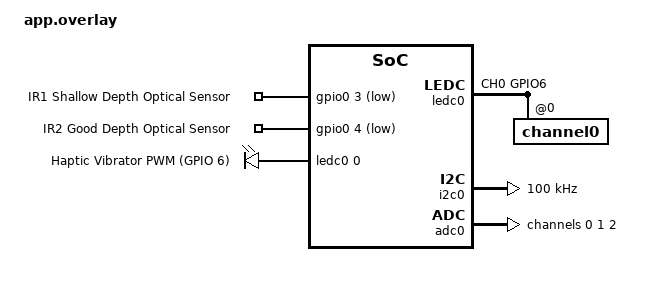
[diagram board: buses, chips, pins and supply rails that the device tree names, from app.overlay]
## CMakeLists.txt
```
# CMakeLists.txt - Zephyr RTOS Build Configuration
# CPR BLE RTOS Controller (No LED Build) for ESP32-C3

cmake_minimum_required(VERSION 3.20.0)

find_package(Zephyr REQUIRED HINTS $ENV{ZEPHYR_BASE})
project(cpr_ble_zephyr_controller_no_led)

target_include_directories(app PRIVATE src)

target_sources(app PRIVATE
    src/main.c
    src/cpr_protocol.c
    src/ble_service.c
    src/ir_sensor.c
    src/haptic.c
    src/aed_sensor.c
    src/air_sensor.c
    src/battery.c
)
```

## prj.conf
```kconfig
# Zephyr RTOS Project Configuration
# Target: ESP32-C3 Super Mini / esp32c3_devkitm
# Project: CPR BLE Monitor (No LED)

# Serial Console & Logging
CONFIG_PRINTK=y
CONFIG_LOG=y
CONFIG_LOG_DEFAULT_LEVEL=3

# Kernel & Stacks
CONFIG_MAIN_STACK_SIZE=4096
CONFIG_SYSTEM_WORKQUEUE_STACK_SIZE=2048
CONFIG_HEAP_MEM_POOL_SIZE=8192

# Bluetooth Subsystem (BLE 5.0 Peripheral)
CONFIG_BT=y
CONFIG_BT_PERIPHERAL=y
CONFIG_BT_DEVICE_NAME="CPR_106"
CONFIG_BT_DEVICE_APPEARANCE=0
CONFIG_BT_MAX_CONN=2
CONFIG_BT_MAX_PAIRED=2
CONFIG_BT_SMP=y
CONFIG_BT_BONDABLE=y
CONFIG_BT_GATT_DYNAMIC_DB=y

# Bluetooth Battery Service (0x180F) for Mobile Percentage Display
CONFIG_BT_BAS=y

# MTU & Buffers for High Throughput & Zero-Delay
CONFIG_BT_L2CAP_TX_MTU=247
CONFIG_BT_BUF_ACL_TX_SIZE=251
CONFIG_BT_BUF_ACL_RX_SIZE=251

# Peripheral Hardware Drivers
CONFIG_GPIO=y
CONFIG_PWM=y
CONFIG_ADC=y
CONFIG_I2C=y

# Floating Point Formatting Support (for BMP280 Airway Pressure)
CONFIG_CBPRINTF_FP_SUPPORT=y
```

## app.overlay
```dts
/*
 * app.overlay - Devicetree overlay for ESP32-C3 Super Mini / esp32c3_devkitm
 * Mapping CPR sensors and haptic motor pins.
 */

#include <zephyr/dt-bindings/gpio/gpio.h>
#include <zephyr/dt-bindings/pwm/pwm.h>
#include <zephyr/dt-bindings/i2c/i2c.h>
#include <zephyr/dt-bindings/adc/adc.h>
#include <zephyr/dt-bindings/pinctrl/esp32c3-pinctrl.h>

/ {
    cpr_sensors {
        compatible = "gpio-keys";
        ir1_pin: ir1 {
            gpios = <&gpio0 3 (GPIO_PULL_UP | GPIO_ACTIVE_LOW)>;
            label = "IR1 Shallow Depth Optical Sensor";
        };
        ir2_pin: ir2 {
            gpios = <&gpio0 4 (GPIO_PULL_UP | GPIO_ACTIVE_LOW)>;
            label = "IR2 Good Depth Optical Sensor";
        };
    };

    aliases {
        ir1 = &ir1_pin;
        ir2 = &ir2_pin;
        pwm-motor = &motor_pwm_0;
        i2c-bus = &i2c0;
    };

    pwm_motor_node {
        compatible = "pwm-leds";
        motor_pwm_0: motor_pwm_0 {
            pwms = <&ledc0 0 PWM_HZ(200) PWM_POLARITY_NORMAL>;
            label = "Haptic Vibrator PWM (GPIO 6)";
        };
    };
};

&user_button1 {
    status = "disabled";
};

&pinctrl {
    ledc0_cpr: ledc0_cpr {
        group1 {
            pinmux = <LEDC_CH0_GPIO6>;
            output-enable;
        };
    };

    i2c0_cpr: i2c0_cpr {
        group1 {
            pinmux = <I2C0_SDA_GPIO8>,
                     <I2C0_SCL_GPIO9>;
            bias-pull-up;
            drive-open-drain;
            output-high;
        };
    };
};

&ledc0 {
    pinctrl-0 = <&ledc0_cpr>;
    pinctrl-names = "default";
    status = "okay";
    #address-cells = <1>;
    #size-cells = <0>;
    channel0@0 {
        reg = <0x0>;
        timer = <0>;
    };
};

&i2c0 {
    status = "okay";
    pinctrl-0 = <&i2c0_cpr>;
    pinctrl-names = "default";
    clock-frequency = <I2C_BITRATE_STANDARD>;
};

&adc0 {
    status = "okay";
    #address-cells = <1>;
    #size-cells = <0>;

    /* Channel 0: GPIO 0 (Chest AED Pad 49E Hall Sensor: A2) */
    channel@0 {
        reg = <0>;
        zephyr,gain = "ADC_GAIN_1_4";
        zephyr,reference = "ADC_REF_INTERNAL";
        zephyr,acquisition-time = <ADC_ACQ_TIME_DEFAULT>;
        zephyr,resolution = <12>;
    };

    /* Channel 1: GPIO 1 (Hip AED Pad 49E Hall Sensor: A1) */
    channel@1 {
        reg = <1>;
        zephyr,gain = "ADC_GAIN_1_4";
        zephyr,reference = "ADC_REF_INTERNAL";
        zephyr,acquisition-time = <ADC_ACQ_TIME_DEFAULT>;
        zephyr,resolution = <12>;
    };

    /* Channel 2: GPIO 2 (Battery Voltage Divider) */
    channel@2 {
        reg = <2>;
        zephyr,gain = "ADC_GAIN_1_4";
        zephyr,reference = "ADC_REF_INTERNAL";
        zephyr,acquisition-time = <ADC_ACQ_TIME_DEFAULT>;
        zephyr,resolution = <12>;
    };
};
```

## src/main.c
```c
/**
 * @file    main.c
 * @brief   CPR Training Monitor — Main Application Entry Point (Zephyr RTOS, No LED)
 * @version 9.0.0
 */

#include <zephyr/kernel.h>
#include <zephyr/logging/log.h>
#include <zephyr/bluetooth/bluetooth.h>

#include "cpr_config.h"
#include "cpr_protocol.h"
#include "ble_service.h"
#include "ir_sensor.h"
#include "haptic.h"
#include "aed_sensor.h"
#include "air_sensor.h"
#include "battery.h"

LOG_MODULE_REGISTER(main, LOG_LEVEL_INF);

/* Thread Stack Sizes & Priorities */
#define STACK_SIZE_SENSOR   2048
#define STACK_SIZE_HEART    1024
#define STACK_SIZE_AED      1536
#define STACK_SIZE_AIR      2048

#define PRIORITY_SENSOR     2   /* High priority for deterministic 1 kHz optical sampling */
#define PRIORITY_HEART      5   /* Background rhythmic haptic driver */
#define PRIORITY_AED        6   /* 10 Hz telemetry */
#define PRIORITY_AIR        6   /* 50 Hz pressure telemetry */

static uint8_t  s_device_id[3]   = {0x82, 0x30, 0x9A}; /* Derived from BT MAC */
static uint16_t s_packet_counter = 0;
static int8_t   s_last_aed_state = -1;
static volatile bool s_announce_pending = false;

/* =============================================================================
 * SENSOR & BLE EVENT HANDLERS
 * ============================================================================= */
static void on_compression_event(depth_result_t result)
{
    if (ble_service_is_connected()) {
        CprPacket cp = cpr_protocol_build_packet(
            PTYPE_COMPRESSION,
            (int8_t)result,
            s_packet_counter++,
            s_device_id
        );
        ble_service_send_compression(&cp);
    }
}

static void on_recoil_event(depth_result_t result)
{
    if (ble_service_is_connected()) {
        CprPacket cp = cpr_protocol_build_packet(
            PTYPE_COMPRESSION,
            (int8_t)result,
            s_packet_counter++,
            s_device_id
        );
        ble_service_send_compression(&cp);
    }
}

static void on_ble_heart_mode_cmd(heart_mode_t mode)
{
    haptic_set_mode(mode);
}

static void on_ble_announce_cmd(void)
{
    s_announce_pending = true;
}

static void on_ble_aed_mode_cmd(aed_mode_t mode)
{
    aed_sensor_set_mode(mode);
    s_last_aed_state = -1;
}

static void on_ble_air_mode_cmd(bool active)
{
    air_sensor_set_active(active);
}

/* =============================================================================
 * ZEPHYR RTOS DEDICATED THREADS
 * ============================================================================= */

/* 1. Sensor Thread: Deterministic 1 kHz Sampling (Zero-Delay Optical Trigger) */
static void sensor_thread_entry(void *p1, void *p2, void *p3)
{
    ARG_UNUSED(p1);
    ARG_UNUSED(p2);
    ARG_UNUSED(p3);

    while (1) {
        ir_sensor_update_tick(TIMING_SENSOR_POLL_MS);
        k_msleep(TIMING_SENSOR_POLL_MS);
    }
}
K_THREAD_DEFINE(sensor_tid, STACK_SIZE_SENSOR, sensor_thread_entry, NULL, NULL, NULL,
                PRIORITY_SENSOR, 0, 0);

/* 2. Heartbeat Thread: Precise Lub-Dub Cardiac Motor Rhythms */
static void heart_thread_entry(void *p1, void *p2, void *p3)
{
    ARG_UNUSED(p1);
    ARG_UNUSED(p2);
    ARG_UNUSED(p3);

    while (1) {
        haptic_run_cycle();
    }
}
K_THREAD_DEFINE(heart_tid, STACK_SIZE_HEART, heart_thread_entry, NULL, NULL, NULL,
                PRIORITY_HEART, 0, 0);

/* 3. AED Thread: 10 Hz 49E Hall Effect Pad Detection (Chest A2 & Hip A1) */
static void aed_thread_entry(void *p1, void *p2, void *p3)
{
    ARG_UNUSED(p1);
    ARG_UNUSED(p2);
    ARG_UNUSED(p3);

    while (1) {
        if (aed_sensor_is_active()) {
            aed_snapshot_t aed = aed_sensor_read();
            int8_t state = aed.is_attached ? 1 : 0;
            if (state != s_last_aed_state) {
                s_last_aed_state = state;
                if (ble_service_is_connected()) {
                    CprPacket p = cpr_protocol_build_packet(
                        PTYPE_AED,
                        state,
                        s_packet_counter++,
                        s_device_id
                    );
                    ble_service_send_aed(&p);
                    LOG_INF("[AED Telemetry] Mode=%s, Attached=%s (ADC=%d, Baseline=%d, Diff=%d)",
                            (aed.mode == AED_MODE_CHEST) ? "CHEST (A2)" : "HIP (A1)",
                            aed.is_attached ? "YES" : "NO",
                            aed.raw_adc,
                            aed.baseline,
                            aed.diff);
                }
            }
            k_msleep(AED_SAMPLE_INTERVAL_MS);
        } else {
            k_msleep(100);
        }
    }
}
K_THREAD_DEFINE(aed_tid, STACK_SIZE_AED, aed_thread_entry, NULL, NULL, NULL,
                PRIORITY_AED, 0, 0);

/* 4. Air Thread: 50 Hz Digital Breath Detection on GPIO 1 */
static void air_thread_entry(void *p1, void *p2, void *p3)
{
    ARG_UNUSED(p1);
    ARG_UNUSED(p2);
    ARG_UNUSED(p3);

    while (1) {
        if (air_sensor_is_active()) {
            bool is_air = false;
            if (air_sensor_update(&is_air)) {
                if (ble_service_is_connected()) {
                    CprPacket p = cpr_protocol_build_packet(
                        PTYPE_AIR,
                        is_air ? 1 : 0,
                        s_packet_counter++,
                        s_device_id
                    );
                    ble_service_send_air(&p);
                    LOG_INF("[Breath Telemetry] Breath=%s", is_air ? "DETECTED (ON)" : "RELEASED (OFF)");
                }
            }
            k_msleep(AIR_SAMPLE_INTERVAL_MS);
        } else {
            k_msleep(100);
        }
    }
}
K_THREAD_DEFINE(air_tid, STACK_SIZE_AIR, air_thread_entry, NULL, NULL, NULL,
                PRIORITY_AIR, 0, 0);

/* =============================================================================
 * MAIN ENTRY POINT
 * ============================================================================= */
int main(void)
{
    LOG_INF("==================================================");
    LOG_INF(" CPR Monitor v%s [Zephyr RTOS No-LED]", FW_VERSION_STR);
    LOG_INF("==================================================");

    /* 1. Initialize Bare-Metal Drivers */
    ir_sensor_init();
    haptic_init();
    aed_sensor_init();
    air_sensor_init();
    battery_init();

    /* 2. Register Callback Handlers */
    ir_sensor_register_callbacks(on_compression_event, on_recoil_event);
    ble_service_register_callbacks(
        on_ble_heart_mode_cmd,
        on_ble_announce_cmd,
        on_ble_aed_mode_cmd,
        on_ble_air_mode_cmd
    );

    /* 3. Initialize BLE GATT & Advertising */
    int ret = ble_service_init();
    if (ret) {
        LOG_ERR("BLE initialization failed (err %d)", ret);
    }

    LOG_INF("System boot sequence complete. Active threads: Sensor, Heart, AED, Air.");

    /* 4. Main Telemetry & Watchdog Loop (Every 5 seconds) */
    while (1) {
        uint8_t batt_pct = battery_get_percentage();
        ble_service_set_battery_level(batt_pct);

        if (s_announce_pending) {
            s_announce_pending = false;
            if (ble_service_is_connected()) {
                AnnouncePacket ap = cpr_protocol_build_announce(
                    s_packet_counter++,
                    s_device_id,
                    batt_pct
                );
                ble_service_send_announce(&ap);
            }
        }

        /* Ensure advertising is active whenever disconnected */
        if (!ble_service_is_connected()) {
            ble_service_ensure_advertising();
        }

        LOG_INF("[HEALTH] State: %s | Battery: %u%% | CPM: %u",
                ble_service_is_connected() ? "CONNECTED" : 
                (ble_service_is_advertising() ? "ADVERTISING" : "IDLE"),
                batt_pct,
                cpm_tracker_get_current_rate());

        k_msleep(5000);
    }

    return 0;
}
```

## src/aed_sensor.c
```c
/**
 * @file    aed_sensor.c
 * @brief   49E Linear Hall Effect Sensor Driver Implementation (Zephyr RTOS)
 *          Handles Chest (A2) on ADC1_CH0 (GPIO 0) and Hip (A1) on ADC1_CH1 (GPIO 1).
 *          Enhanced with 16-sample oversampling and hysteresis for thin/small magnets.
 * @version 9.3.0
 */

#include "aed_sensor.h"
#include <zephyr/kernel.h>
#include <zephyr/drivers/adc.h>
#include <zephyr/logging/log.h>
#include <stdlib.h>

LOG_MODULE_REGISTER(aed_sensor, LOG_LEVEL_INF);

static const struct device *adc_dev = NULL;
static aed_mode_t s_aed_mode        = AED_MODE_DISABLED;
static int16_t    s_baseline_chest  = 0;
static int16_t    s_baseline_hip    = 0;

static bool    s_chest_attached     = false;
static bool    s_hip_attached       = false;
static uint8_t s_chest_confirm_count = 0;
static uint8_t s_hip_confirm_count   = 0;

static int adc_read_channel(uint8_t channel, int16_t *out_val)
{
    if (!adc_dev || !device_is_ready(adc_dev)) {
        *out_val = 2048; /* Dummy midpoint if ADC not ready */
        return -ENODEV;
    }

    struct adc_channel_cfg ch_cfg = {
        .gain = ADC_GAIN_1_4,
        .reference = ADC_REF_INTERNAL,
        .acquisition_time = ADC_ACQ_TIME_DEFAULT,
        .channel_id = channel,
    };

    adc_channel_setup(adc_dev, &ch_cfg);

    int16_t sample = 0;
    struct adc_sequence sequence = {
        .channels = BIT(channel),
        .buffer = &sample,
        .buffer_size = sizeof(sample),
        .resolution = AED_ADC_RESOLUTION_BITS,
    };

    int ret = adc_read(adc_dev, &sequence);
    if (ret == 0) {
        *out_val = sample;
    }
    return ret;
}

static int16_t read_hall_average(uint8_t channel, uint8_t samples)
{
    int32_t sum = 0;
    int16_t val = 0;
    for (uint8_t i = 0; i < samples; ++i) {
        adc_read_channel(channel, &val);
        sum += val;
        k_busy_wait(200);
    }
    return (int16_t)(sum / samples);
}

int aed_sensor_init(void)
{
    adc_dev = DEVICE_DT_GET(DT_NODELABEL(adc0));
    if (!device_is_ready(adc_dev)) {
        LOG_WRN("ADC0 device not ready");
    } else {
        LOG_INF("ADC0 initialized for Dual 49E Hall sensors (Chest=GPIO0/CH0, Hip=GPIO1/CH1)");
    }

    s_aed_mode = AED_MODE_DISABLED;
    s_chest_attached = false;
    s_hip_attached   = false;
    s_chest_confirm_count = 0;
    s_hip_confirm_count   = 0;
    return 0;
}

void aed_sensor_calibrate(void)
{
    if (s_aed_mode == AED_MODE_CHEST) {
        s_baseline_chest = read_hall_average(AED_ADC_CH_CHEST, AED_CALIBRATION_SAMPLES);
        LOG_INF("Chest AED Calibrated (GPIO 0): Baseline=%d (Sens Threshold=%d, Hyst=%d)",
                s_baseline_chest, AED_DIFF_THRESHOLD, AED_HYSTERESIS_THRESHOLD);
    } else if (s_aed_mode == AED_MODE_HIP) {
        s_baseline_hip = read_hall_average(AED_ADC_CH_HIP, AED_CALIBRATION_SAMPLES);
        LOG_INF("Hip AED Calibrated (GPIO 1): Baseline=%d (Sens Threshold=%d, Hyst=%d)",
                s_baseline_hip, AED_DIFF_THRESHOLD, AED_HYSTERESIS_THRESHOLD);
    }
}

void aed_sensor_set_mode(aed_mode_t mode)
{
    s_aed_mode = mode;
    s_chest_attached = false;
    s_hip_attached   = false;
    s_chest_confirm_count = 0;
    s_hip_confirm_count   = 0;

    if (mode == AED_MODE_CHEST) {
        aed_sensor_calibrate();
        LOG_INF(">>> CHEST AED Pad Monitoring ACTIVATED on GPIO 0 (Cmd 'A2', Threshold=%d)", AED_DIFF_THRESHOLD);
    } else if (mode == AED_MODE_HIP) {
        aed_sensor_calibrate();
        LOG_INF(">>> HIP AED Pad Monitoring ACTIVATED on GPIO 1 (Cmd 'A1', Threshold=%d)", AED_DIFF_THRESHOLD);
    } else {
        LOG_INF("<<< AED Pad Monitoring DEACTIVATED (Cmd 'A0')");
    }
}

aed_mode_t aed_sensor_get_mode(void)
{
    return s_aed_mode;
}

bool aed_sensor_is_active(void)
{
    return (s_aed_mode != AED_MODE_DISABLED);
}

aed_snapshot_t aed_sensor_read(void)
{
    aed_snapshot_t snap = {
        .mode = s_aed_mode,
        .is_attached = false,
        .raw_adc = 0,
        .baseline = 0,
        .diff = 0
    };

    if (s_aed_mode == AED_MODE_DISABLED) return snap;

    uint8_t channel = (s_aed_mode == AED_MODE_CHEST) ? AED_ADC_CH_CHEST : AED_ADC_CH_HIP;
    int16_t current = read_hall_average(channel, AED_OVERSAMPLE_COUNT);
    int16_t baseline = (s_aed_mode == AED_MODE_CHEST) ? s_baseline_chest : s_baseline_hip;

    snap.raw_adc     = current;
    snap.baseline    = baseline;
    snap.diff        = abs(current - baseline);

    bool *p_attached = (s_aed_mode == AED_MODE_CHEST) ? &s_chest_attached : &s_hip_attached;
    uint8_t *p_confirm = (s_aed_mode == AED_MODE_CHEST) ? &s_chest_confirm_count : &s_hip_confirm_count;

    if (!(*p_attached)) {
        if (snap.diff >= AED_DIFF_THRESHOLD) {
            (*p_confirm)++;
            if (*p_confirm >= 2) {
                *p_attached = true;
                *p_confirm = 0;
            }
        } else {
            *p_confirm = 0;
        }
    } else {
        if (snap.diff <= AED_HYSTERESIS_THRESHOLD) {
            (*p_confirm)++;
            if (*p_confirm >= 2) {
                *p_attached = false;
                *p_confirm = 0;
            }
        } else {
            *p_confirm = 0;
        }
    }

    snap.is_attached = *p_attached;
    return snap;
}
```

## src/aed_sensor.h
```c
/**
 * @file    aed_sensor.h
 * @brief   49E Linear Hall Effect Sensor Driver for AED Pad Placement (Zephyr RTOS)
 * @version 9.1.0
 */

#pragma once

#include <stdint.h>
#include <stdbool.h>
#include "cpr_config.h"

#ifdef __cplusplus
extern "C" {
#endif

typedef struct {
    aed_mode_t mode;        /* Current mode: AED_MODE_CHEST or AED_MODE_HIP */
    bool       is_attached; /* True if pad attached (diff > threshold) */
    int16_t    raw_adc;     /* Current raw ADC value */
    int16_t    baseline;    /* Calibrated baseline */
    int16_t    diff;        /* Absolute difference from baseline */
} aed_snapshot_t;

int aed_sensor_init(void);

void aed_sensor_set_mode(aed_mode_t mode);

aed_mode_t aed_sensor_get_mode(void);

bool aed_sensor_is_active(void);

void aed_sensor_calibrate(void);

aed_snapshot_t aed_sensor_read(void);

#ifdef __cplusplus
}
#endif
```

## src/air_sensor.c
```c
/**
 * @file    air_sensor.c
 * @brief   BMP280 Airway Barometric Pressure Sensor Driver Implementation (Zephyr RTOS)
 *          Operates over I2C0 (SDA: GPIO 8, SCL: GPIO 9).
 * @version 9.3.0
 */

#include "air_sensor.h"
#include <zephyr/kernel.h>
#include <zephyr/drivers/i2c.h>
#include <zephyr/logging/log.h>
#include <math.h>

LOG_MODULE_REGISTER(air_sensor, LOG_LEVEL_INF);

static const struct device *i2c_dev = NULL;
static uint16_t s_bmp_addr          = 0x76;
static bool     s_bmp_initialized   = false;
static bool     s_air_active        = false;

/* Calibration Parameters */
static uint16_t dig_T1;
static int16_t  dig_T2, dig_T3;
static uint16_t dig_P1;
static int16_t  dig_P2, dig_P3, dig_P4, dig_P5, dig_P6, dig_P7, dig_P8, dig_P9;
static int32_t  t_fine;

/* Air Detection State */
static float   s_baseline_pressure = 0.0f;
static float   s_filtered_diff     = 0.0f;
static bool    s_first_reading     = true;
static bool    s_air_detected      = false;
static uint8_t s_on_count          = 0;
static uint8_t s_off_count         = 0;

/* BMP280 Registers */
#define BMP280_REG_CHIPID       0xD0
#define BMP280_REG_CTRL_MEAS    0xF4
#define BMP280_REG_CONFIG       0xF5
#define BMP280_REG_PRESS_MSB    0xF7
#define BMP280_REG_CALIB_START  0x88

static int bmp280_read_calib(void)
{
    uint8_t calib[24];
    int ret = i2c_burst_read(i2c_dev, s_bmp_addr, BMP280_REG_CALIB_START, calib, 24);
    if (ret) return ret;

    dig_T1 = (uint16_t)(calib[1] << 8 | calib[0]);
    dig_T2 = (int16_t)(calib[3] << 8 | calib[2]);
    dig_T3 = (int16_t)(calib[5] << 8 | calib[4]);

    dig_P1 = (uint16_t)(calib[7] << 8 | calib[6]);
    dig_P2 = (int16_t)(calib[9] << 8 | calib[8]);
    dig_P3 = (int16_t)(calib[11] << 8 | calib[10]);
    dig_P4 = (int16_t)(calib[13] << 8 | calib[12]);
    dig_P5 = (int16_t)(calib[15] << 8 | calib[14]);
    dig_P6 = (int16_t)(calib[17] << 8 | calib[16]);
    dig_P7 = (int16_t)(calib[19] << 8 | calib[18]);
    dig_P8 = (int16_t)(calib[21] << 8 | calib[20]);
    dig_P9 = (int16_t)(calib[23] << 8 | calib[22]);

    return 0;
}

static float bmp280_read_pressure_pa(void)
{
    if (!s_bmp_initialized) return 101325.0f;

    uint8_t data[6];
    int ret = i2c_burst_read(i2c_dev, s_bmp_addr, BMP280_REG_PRESS_MSB, data, 6);
    if (ret) return 101325.0f;

    int32_t adc_p = ((int32_t)data[0] << 12) | ((int32_t)data[1] << 4) | ((int32_t)data[2] >> 4);
    int32_t adc_t = ((int32_t)data[3] << 12) | ((int32_t)data[4] << 4) | ((int32_t)data[5] >> 4);

    /* Temperature compensation */
    int32_t var1 = ((((adc_t >> 3) - ((int32_t)dig_T1 << 1))) * ((int32_t)dig_T2)) >> 11;
    int32_t var2 = (((((adc_t >> 4) - ((int32_t)dig_T1)) * ((adc_t >> 4) - ((int32_t)dig_T1))) >> 12) * ((int32_t)dig_T3)) >> 14;
    t_fine = var1 + var2;

    /* Pressure compensation */
    int64_t p_var1 = ((int64_t)t_fine) - 128000;
    int64_t p_var2 = p_var1 * p_var1 * (int64_t)dig_P6;
    p_var2 = p_var2 + ((p_var1 * (int64_t)dig_P5) << 17);
    p_var2 = p_var2 + (((int64_t)dig_P4) << 35);
    p_var1 = ((p_var1 * p_var1 * (int64_t)dig_P3) >> 8) + ((p_var1 * (int64_t)dig_P2) << 12);
    p_var1 = (((((int64_t)1) << 47) + p_var1)) * ((int64_t)dig_P1) >> 33;

    if (p_var1 == 0) return 0.0f;

    int64_t p = 1048576 - adc_p;
    p = (((p << 31) - p_var2) * 3125) / p_var1;
    p_var1 = (((int64_t)dig_P9) * (p >> 13) * (p >> 13)) >> 25;
    p_var2 = (((int64_t)dig_P8) * p) >> 19;
    p = ((p + p_var1 + p_var2) >> 8) + (((int64_t)dig_P7) << 4);

    return (float)p / 256.0f;
}

int air_sensor_init(void)
{
    i2c_dev = DEVICE_DT_GET(DT_NODELABEL(i2c0));
    if (!device_is_ready(i2c_dev)) {
        LOG_WRN("I2C0 not ready");
        return -ENODEV;
    }

    uint8_t chip_id = 0;
    /* Probe 0x76 first, then 0x77 */
    s_bmp_addr = 0x76;
    if (i2c_reg_read_byte(i2c_dev, s_bmp_addr, BMP280_REG_CHIPID, &chip_id) != 0 || (chip_id != 0x58 && chip_id != 0x60)) {
        s_bmp_addr = 0x77;
        if (i2c_reg_read_byte(i2c_dev, s_bmp_addr, BMP280_REG_CHIPID, &chip_id) != 0 || (chip_id != 0x58 && chip_id != 0x60)) {
            LOG_WRN("BMP280 not found on I2C (0x76 / 0x77)");
            s_bmp_initialized = false;
            return -ENODEV;
        }
    }

    bmp280_read_calib();

    /* Put in sleep mode initially */
    i2c_reg_write_byte(i2c_dev, s_bmp_addr, BMP280_REG_CTRL_MEAS, 0x00);
    s_bmp_initialized = true;
    LOG_INF("BMP280 airway sensor initialized at 0x%02x on I2C0 (Sleep Mode)", s_bmp_addr);
    return 0;
}

bool air_sensor_calibrate(void)
{
    if (!s_bmp_initialized) return false;

    /* Configure normal mode, x2 temp oversample, x16 pressure oversample */
    i2c_reg_write_byte(i2c_dev, s_bmp_addr, BMP280_REG_CTRL_MEAS, 0x57);
    i2c_reg_write_byte(i2c_dev, s_bmp_addr, BMP280_REG_CONFIG, 0x10); /* Filter x16 */

    k_msleep(100);

    float sum = 0.0f;
    for (int i = 0; i < AIR_CALIBRATION_SAMPLES; ++i) {
        sum += bmp280_read_pressure_pa();
        k_msleep(20);
    }
    s_baseline_pressure = sum / (float)AIR_CALIBRATION_SAMPLES;
    s_first_reading     = true;
    s_air_detected      = false;
    s_on_count          = 0;
    s_off_count         = 0;

    LOG_INF("BMP280 Calibrated: Baseline Pressure = %.2f Pa", (double)s_baseline_pressure);
    return true;
}

void air_sensor_set_active(bool active)
{
    s_air_active = active;
    if (active) {
        air_sensor_calibrate();
        LOG_INF(">>> Mouth Airway Sensor ACTIVATED (Cmd 'M1')");
    } else {
        if (s_bmp_initialized) {
            i2c_reg_write_byte(i2c_dev, s_bmp_addr, BMP280_REG_CTRL_MEAS, 0x00); /* Sleep */
        }
        LOG_INF("<<< Mouth Airway Sensor DEACTIVATED (Cmd 'M0')");
    }
}

bool air_sensor_is_active(void)
{
    return s_air_active;
}

bool air_sensor_update(bool *out_air_detected)
{
    if (!s_air_active || !s_bmp_initialized) return false;

    float pressure = bmp280_read_pressure_pa();
    float diff = pressure - s_baseline_pressure;

    if (s_first_reading) {
        s_filtered_diff = diff;
        s_first_reading = false;
    } else {
        s_filtered_diff = AIR_FILTER_ALPHA * diff + (1.0f - AIR_FILTER_ALPHA) * s_filtered_diff;
    }

    float magnitude = fabsf(s_filtered_diff);
    bool state_changed = false;

    if (!s_air_detected) {
        if (magnitude >= AIR_ON_THRESHOLD_PA) {
            s_on_count++;
        } else {
            s_on_count = 0;
        }

        if (s_on_count >= AIR_ON_CONFIRM_COUNT) {
            s_air_detected = true;
            s_on_count     = 0;
            s_off_count    = 0;
            state_changed  = true;
            LOG_INF("[AIR EVENT] >>> BREATH DETECTED! (Delta: %.1f Pa)", (double)magnitude);
        }
    } else {
        if (magnitude <= AIR_OFF_THRESHOLD_PA) {
            s_off_count++;
        } else {
            s_off_count = 0;
        }

        if (s_off_count >= AIR_OFF_CONFIRM_COUNT) {
            s_air_detected = false;
            s_off_count    = 0;
            s_on_count     = 0;
            state_changed  = true;
            LOG_INF("[AIR EVENT] <<< BREATH ENDED");
        }
    }

    *out_air_detected = s_air_detected;
    return state_changed;
}
```

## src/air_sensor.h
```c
/**
 * @file    air_sensor.h
 * @brief   BMP280 Airway Barometric Pressure Sensor Driver (Zephyr RTOS)
 *          Reads pressure differential on I2C (GPIO 8 SDA, GPIO 9 SCL).
 * @version 9.3.0
 */

#pragma once

#include <stdint.h>
#include <stdbool.h>
#include "cpr_config.h"

#ifdef __cplusplus
extern "C" {
#endif

int air_sensor_init(void);
void air_sensor_set_active(bool active);
bool air_sensor_is_active(void);
bool air_sensor_calibrate(void);
bool air_sensor_update(bool *out_air_detected);

#ifdef __cplusplus
}
#endif
```

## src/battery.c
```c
/**
 * @file    battery.c
 * @brief   Battery ADC Voltage & Percentage Monitor Implementation (Zephyr RTOS)
 * @version 9.0.0
 */

#include "battery.h"
#include <zephyr/kernel.h>
#include <zephyr/drivers/adc.h>
#include <zephyr/logging/log.h>

LOG_MODULE_REGISTER(battery, LOG_LEVEL_INF);

static const struct device *adc_dev = NULL;
#define ADC_CH_BATTERY 2 /* GPIO 2 / ADC1 Channel 2 */

int battery_init(void)
{
    adc_dev = DEVICE_DT_GET(DT_NODELABEL(adc0));
    if (!device_is_ready(adc_dev)) {
        LOG_WRN("ADC0 device not ready for battery");
        return -ENODEV;
    }

    struct adc_channel_cfg ch_cfg = {
        .gain = ADC_GAIN_1_4,
        .reference = ADC_REF_INTERNAL,
        .acquisition_time = ADC_ACQ_TIME_DEFAULT,
        .channel_id = ADC_CH_BATTERY,
    };

    adc_channel_setup(adc_dev, &ch_cfg);
    LOG_INF("Battery ADC initialized on Channel %d (GPIO 2)", ADC_CH_BATTERY);
    return 0;
}

uint16_t battery_get_voltage_mv(void)
{
    if (!adc_dev || !device_is_ready(adc_dev)) {
        return 3950; /* Fallback nominal 3.95V */
    }

    int16_t raw_sample = 0;
    struct adc_sequence sequence = {
        .channels = BIT(ADC_CH_BATTERY),
        .buffer = &raw_sample,
        .buffer_size = sizeof(raw_sample),
        .resolution = 12,
    };

    int ret = adc_read(adc_dev, &sequence);
    if (ret != 0 || raw_sample <= 0) {
        return 3950;
    }

    /* Convert raw 12-bit ADC (3.3V full scale) to mV at pin */
    int32_t pin_mv = (raw_sample * 3300) / 4095;
    if (pin_mv < 500) {
        return 3950; /* USB 5V test mode fallback */
    }

    /* Apply 2:1 resistive divider ratio */
    return (uint16_t)(pin_mv * BATT_DIVIDER_RATIO);
}

uint8_t battery_get_percentage(void)
{
    uint16_t mv = battery_get_voltage_mv();

    if (mv >= BATT_MAX_VOLTAGE_MV) {
        return 100;
    } else if (mv <= BATT_MIN_VOLTAGE_MV) {
        return 0;
    } else {
        return (uint8_t)(((uint32_t)(mv - BATT_MIN_VOLTAGE_MV) * 100UL) /
                         (BATT_MAX_VOLTAGE_MV - BATT_MIN_VOLTAGE_MV));
    }
}
```

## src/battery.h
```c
/**
 * @file    battery.h
 * @brief   Battery ADC Voltage & Percentage Monitor (Zephyr RTOS)
 * @version 9.0.0
 */

#pragma once

#include <stdint.h>
#include "cpr_config.h"

#ifdef __cplusplus
extern "C" {
#endif

int battery_init(void);

uint16_t battery_get_voltage_mv(void);

uint8_t battery_get_percentage(void);

#ifdef __cplusplus
}
#endif
```

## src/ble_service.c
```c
/**
 * @file    ble_service.c
 * @brief   Zephyr BLE GATT Nordic UART Service & Battery Service Implementation
 * @version 9.0.0
 */

#include "ble_service.h"
#include <zephyr/kernel.h>
#include <zephyr/logging/log.h>
#include <zephyr/bluetooth/bluetooth.h>
#include <zephyr/bluetooth/conn.h>
#include <zephyr/bluetooth/uuid.h>
#include <zephyr/bluetooth/gatt.h>
#include <zephyr/bluetooth/services/bas.h>

LOG_MODULE_REGISTER(ble_service, LOG_LEVEL_INF);

static struct bt_conn *default_conn = NULL;
static volatile bool s_client_connected = false;
static volatile bool s_is_advertising = false;
static bool s_tx_notify_enabled = false;

static struct k_work_delayable s_adv_work;
static void adv_work_handler(struct k_work *work);

static ble_heart_mode_callback_t       s_heart_cb    = NULL;
static ble_announce_request_callback_t s_announce_cb = NULL;
static ble_aed_mode_callback_t         s_aed_cb      = NULL;
static ble_air_mode_callback_t         s_air_cb      = NULL;

/* Nordic UART Service (NUS) UUIDs */
static struct bt_uuid_128 nus_uuid    = BT_UUID_INIT_128(BT_UUID_NUS_SERVICE_VAL);
static struct bt_uuid_128 nus_rx_uuid = BT_UUID_INIT_128(BT_UUID_NUS_RX_VAL);
static struct bt_uuid_128 nus_tx_uuid = BT_UUID_INIT_128(BT_UUID_NUS_TX_VAL);

static uint8_t s_tx_buffer[32];
static uint16_t s_tx_len = 0;

static ssize_t on_nus_rx_write(struct bt_conn *conn,
                               const struct bt_gatt_attr *attr,
                               const void *buf, uint16_t len,
                               uint16_t offset, uint8_t flags)
{
    const char *cmd_buf = (const char *)buf;
    if (len < 1) return len;

    const char cmd = cmd_buf[0];
    switch (cmd) {
        case 'C':
        case '?':
            if (s_announce_cb) {
                s_announce_cb();
            }
            break;

        case 'A': {
            aed_mode_t mode = AED_MODE_DISABLED;
            if (len >= 2) {
                if (cmd_buf[1] == '2') {
                    mode = AED_MODE_CHEST;
                } else if (cmd_buf[1] == '1') {
                    mode = AED_MODE_HIP;
                } else if (cmd_buf[1] == '0') {
                    mode = AED_MODE_DISABLED;
                }
            }
            if (s_aed_cb) {
                s_aed_cb(mode);
            }
            break;
        }

        case 'M': {
            bool enable = true;
            if (len >= 2 && cmd_buf[1] == '0') {
                enable = false;
            }
            if (s_air_cb) {
                s_air_cb(enable);
            }
            break;
        }

        case 'H':
        case 'V': {
            uint8_t mode = 1;
            if (len >= 2) {
                mode = cmd_buf[1] - '0';
            }
            if (s_heart_cb) {
                if (mode == 0) s_heart_cb(HEART_STOPPED);
                else if (mode == 2) s_heart_cb(HEART_CONTINUOUS);
                else if (mode == 3) s_heart_cb(HEART_SINGLE_BEAT);
                else s_heart_cb(HEART_NORMAL);
            }
            break;
        }

        case 'B':
            if (s_heart_cb) {
                s_heart_cb(HEART_SINGLE_BEAT);
            }
            break;

        case 'S':
            if (s_heart_cb) {
                s_heart_cb(HEART_STOPPED);
            }
            break;

        default:
            break;
    }

    return len;
}

static ssize_t on_nus_tx_read(struct bt_conn *conn,
                              const struct bt_gatt_attr *attr,
                              void *buf, uint16_t len,
                              uint16_t offset)
{
    return bt_gatt_attr_read(conn, attr, buf, len, offset, s_tx_buffer, s_tx_len);
}

static void on_nus_tx_ccc_changed(const struct bt_gatt_attr *attr, uint16_t value)
{
    s_tx_notify_enabled = (value == BT_GATT_CCC_NOTIFY);
    LOG_INF("NUS TX CCC notification %s", s_tx_notify_enabled ? "enabled" : "disabled");
}

/* GATT Service Declaration */
BT_GATT_SERVICE_DEFINE(nus_svc,
    BT_GATT_PRIMARY_SERVICE(&nus_uuid),
    BT_GATT_CHARACTERISTIC(&nus_rx_uuid.uuid,
                           BT_GATT_CHRC_WRITE | BT_GATT_CHRC_WRITE_WITHOUT_RESP,
                           BT_GATT_PERM_WRITE,
                           NULL, on_nus_rx_write, NULL),
    BT_GATT_CHARACTERISTIC(&nus_tx_uuid.uuid,
                           BT_GATT_CHRC_NOTIFY | BT_GATT_CHRC_READ,
                           BT_GATT_PERM_READ,
                           on_nus_tx_read, NULL, NULL),
    BT_GATT_CCC(on_nus_tx_ccc_changed,
                BT_GATT_PERM_READ | BT_GATT_PERM_WRITE),
);

/* Advertising Data */
static const struct bt_data ad[] = {
    BT_DATA_BYTES(BT_DATA_FLAGS, (BT_LE_AD_GENERAL | BT_LE_AD_NO_BREDR)),
    BT_DATA(BT_DATA_NAME_COMPLETE, BLE_DEVICE_NAME, sizeof(BLE_DEVICE_NAME) - 1),
    BT_DATA_BYTES(BT_DATA_UUID128_ALL, BT_UUID_NUS_SERVICE_VAL),
};

static const struct bt_data sd[] = {
    BT_DATA_BYTES(BT_DATA_UUID16_ALL, BT_UUID_16_ENCODE(BT_UUID_BAS_VAL)),
};

int ble_service_start_advertising(void)
{
    if (s_client_connected) {
        return 0;
    }

    /* Stop previous advertising to guarantee clean state */
    bt_le_adv_stop();
    s_is_advertising = false;

    int err = bt_le_adv_start(BT_LE_ADV_CONN_FAST_1, ad, ARRAY_SIZE(ad), sd, ARRAY_SIZE(sd));
    if (err) {
        LOG_ERR("Advertising failed to start (err %d)", err);
        return err;
    }

    s_is_advertising = true;
    LOG_INF("Advertising started as: %s", BLE_DEVICE_NAME);
    return 0;
}

static void adv_work_handler(struct k_work *work)
{
    if (s_client_connected) {
        return;
    }

    int err = ble_service_start_advertising();
    if (err) {
        LOG_WRN("Advertising restart failed (err %d), retrying in 500 ms...", err);
        k_work_reschedule(&s_adv_work, K_MSEC(500));
    }
}

static void connected(struct bt_conn *conn, uint8_t err)
{
    if (err) {
        LOG_ERR("BLE Connection failed (err 0x%02x)", err);
        s_is_advertising = false;
        k_work_reschedule(&s_adv_work, K_MSEC(50));
        return;
    }
    k_work_cancel_delayable(&s_adv_work);
    default_conn = bt_conn_ref(conn);
    s_client_connected = true;
    s_is_advertising = false;
    LOG_INF(">>> BLE Client connected! (Just Works bonding active)");
}

static void disconnected(struct bt_conn *conn, uint8_t reason)
{
    LOG_INF("<<< BLE Client disconnected (reason 0x%02x)", reason);
    if (default_conn) {
        bt_conn_unref(default_conn);
        default_conn = NULL;
    }
    s_client_connected = false;
    s_is_advertising = false;
    s_tx_notify_enabled = false;

    if (s_heart_cb) s_heart_cb(HEART_STOPPED);
    if (s_aed_cb)   s_aed_cb(AED_MODE_DISABLED);
    if (s_air_cb)   s_air_cb(false);

    /* In Zephyr, the stack still holds a reference to the conn object inside disconnected().
     * Restarting advertising synchronously here can fail with -ENOMEM when connection slots are constrained.
     * We schedule advertising restart after a brief delay, and also hook into recycled().
     */
    k_work_reschedule(&s_adv_work, K_MSEC(50));
}

static void recycled(void)
{
    LOG_INF("BLE Connection object freed & recycled. Triggering advertising immediately.");
    k_work_reschedule(&s_adv_work, K_NO_WAIT);
}

BT_CONN_CB_DEFINE(conn_callbacks) = {
    .connected    = connected,
    .disconnected = disconnected,
    .recycled     = recycled,
};

void ble_service_register_callbacks(ble_heart_mode_callback_t heart_cb,
                                    ble_announce_request_callback_t announce_cb,
                                    ble_aed_mode_callback_t aed_cb,
                                    ble_air_mode_callback_t air_cb)
{
    s_heart_cb    = heart_cb;
    s_announce_cb = announce_cb;
    s_aed_cb      = aed_cb;
    s_air_cb      = air_cb;
}

int ble_service_init(void)
{
    k_work_init_delayable(&s_adv_work, adv_work_handler);

    int err = bt_enable(NULL);
    if (err) {
        LOG_ERR("Bluetooth init failed (err %d)", err);
        return err;
    }

    LOG_INF("Bluetooth initialized successfully");

    return ble_service_start_advertising();
}

bool ble_service_is_connected(void)
{
    return s_client_connected;
}

bool ble_service_is_advertising(void)
{
    return s_is_advertising;
}

void ble_service_ensure_advertising(void)
{
    if (!s_client_connected && !s_is_advertising) {
        LOG_INF("Watchdog: advertising was inactive while disconnected, restarting...");
        k_work_reschedule(&s_adv_work, K_NO_WAIT);
    }
}

static int send_nus_data(const void *data, uint16_t len)
{
    if (!s_client_connected || !s_tx_notify_enabled) {
        return -ENOTCONN;
    }

    memcpy(s_tx_buffer, data, len);
    s_tx_len = len;

    /* Index 3 is TX Characteristic Value in nus_svc */
    return bt_gatt_notify(default_conn, &nus_svc.attrs[3], data, len);
}

int ble_service_send_announce(const AnnouncePacket *pkt)
{
    return send_nus_data(pkt, sizeof(AnnouncePacket));
}

int ble_service_send_compression(const CprPacket *pkt)
{
    return send_nus_data(pkt, sizeof(CprPacket));
}

int ble_service_send_aed(const CprPacket *pkt)
{
    return send_nus_data(pkt, sizeof(CprPacket));
}

int ble_service_send_air(const CprPacket *pkt)
{
    return send_nus_data(pkt, sizeof(CprPacket));
}

void ble_service_set_battery_level(uint8_t percentage)
{
    bt_bas_set_battery_level(percentage);
}
```

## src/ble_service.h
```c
/**
 * @file    ble_service.h
 * @brief   Zephyr BLE GATT Nordic UART Service (NUS) & Battery Service (BAS)
 * @version 9.0.0
 */

#pragma once

#include <stdint.h>
#include <stdbool.h>
#include "cpr_config.h"

#ifdef __cplusplus
extern "C" {
#endif

typedef void (*ble_heart_mode_callback_t)(heart_mode_t mode);
typedef void (*ble_announce_request_callback_t)(void);
typedef void (*ble_aed_mode_callback_t)(aed_mode_t mode);
typedef void (*ble_air_mode_callback_t)(bool active);

void ble_service_register_callbacks(ble_heart_mode_callback_t heart_cb,
                                    ble_announce_request_callback_t announce_cb,
                                    ble_aed_mode_callback_t aed_cb,
                                    ble_air_mode_callback_t air_cb);

int ble_service_init(void);

bool ble_service_is_connected(void);
bool ble_service_is_advertising(void);
int ble_service_start_advertising(void);
void ble_service_ensure_advertising(void);

int ble_service_send_announce(const AnnouncePacket *pkt);

int ble_service_send_compression(const CprPacket *pkt);

int ble_service_send_aed(const CprPacket *pkt);

int ble_service_send_air(const CprPacket *pkt);

void ble_service_set_battery_level(uint8_t percentage);

#ifdef __cplusplus
}
#endif
```

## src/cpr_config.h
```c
/**
 * @file    cpr_config.h
 * @brief   System & Hardware Configuration for CPR BLE Monitor (Zephyr RTOS, No LED)
 * @version 9.0.0
 */

#pragma once

#include <stdint.h>
#include <stdbool.h>
#include <stddef.h>

#define FW_VERSION_STR       "9.0.0-ZEPHYR-NO-LED"
#define FW_PROJECT_NAME      "CPR_BLE_Zephyr"

/* =============================================================================
 * HARDWARE GPIO ASSIGNMENTS (ESP32-C3 Super Mini)
 * ============================================================================= */
#define HAL_PIN_AED_CHEST       0   /* ADC1_CH0 (49E Hall Sensor: Chest A2) */
#define HAL_PIN_AED_HIP         1   /* ADC1_CH1 (49E Hall Sensor: Hip A1) */
#define HAL_PIN_BATTERY_ADC     2   /* ADC1_CH2 (Battery 2:1 Divider) */
#define HAL_PIN_IR1             3   /* Optical IR Shallow Sensor (Active-LOW, Pull-up) */
#define HAL_PIN_IR2             4   /* Optical IR Deep Sensor (Active-LOW, Pull-up) */
#define HAL_PIN_MOTOR           6   /* Haptic PWM (200 Hz LEDC PWM) */
#define HAL_PIN_I2C_SDA         8   /* I2C SDA for BMP280 Airway Breath Sensor */
#define HAL_PIN_I2C_SCL         9   /* I2C SCL for BMP280 Airway Breath Sensor */

#define MOTOR_PWM_FREQ_HZ       200
#define MOTOR_DUTY_MAX_PERCENT  100

/* =============================================================================
 * BATTERY MONITORING CONFIGURATION
 * ============================================================================= */
#define BATT_DIVIDER_RATIO      2.0f
#define BATT_MIN_VOLTAGE_MV     3300   /* 3.3V = 0% */
#define BATT_MAX_VOLTAGE_MV     4200   /* 4.2V = 100% */
#define BATT_LOW_THRESHOLD_PCT  30

/* =============================================================================
 * BLE GATT & CHARACTERISTIC UUIDS (Nordic UART Service - NUS)
 * ============================================================================= */
#define BLE_DEVICE_NAME         "CPR_106"
#define MANIKIN_NAME_STR        "106"
#define MANIKIN_TYPE_DEFAULT    1

/* Nordic UART Service 128-bit UUIDs */
/* 6E400001-B5A3-F393-E0A9-E50E24DCCA9E */
#define BT_UUID_NUS_SERVICE_VAL \
    BT_UUID_128_ENCODE(0x6e400001, 0xb5a3, 0xf393, 0xe0a9, 0xe50e24dcca9e)

/* 6E400002-B5A3-F393-E0A9-E50E24DCCA9E (RX: Write) */
#define BT_UUID_NUS_RX_VAL \
    BT_UUID_128_ENCODE(0x6e400002, 0xb5a3, 0xf393, 0xe0a9, 0xe50e24dcca9e)

/* 6E400003-B5A3-F393-E0A9-E50E24DCCA9E (TX: Notify/Read) */
#define BT_UUID_NUS_TX_VAL \
    BT_UUID_128_ENCODE(0x6e400003, 0xb5a3, 0xf393, 0xe0a9, 0xe50e24dcca9e)

/* =============================================================================
 * TIMING CONSTANTS (Milliseconds)
 * ============================================================================= */
#define TIMING_SENSOR_POLL_MS    1      /* 1 kHz sampling for zero-delay response */
#define TIMING_DEBOUNCE_US       20     /* 20us optical glitch filter */
#define TIMING_IDLE_CONFIRM_MS   2
#define TIMING_STABLE_OFF_MS     2
#define TIMING_LUB_ON_MS         140    /* Systole pulse */
#define TIMING_LUB_OFF_MS        100    /* Diastolic gap */
#define TIMING_DUB_ON_MS         90     /* Diastole pulse */
#define TIMING_BEAT_TOTAL_MS     (TIMING_LUB_ON_MS + TIMING_LUB_OFF_MS + TIMING_DUB_ON_MS) /* 330ms */
#define TIMING_HEART_BPM_NORMAL  72

/* =============================================================================
 * AED PAD DETECTION CONFIGURATION (49E Linear Hall Sensors)
 * ============================================================================= */
#define AED_ADC_CH_CHEST         0      /* ADC1_CH0 (GPIO 0 - Chest Pad A2) */
#define AED_ADC_CH_HIP           1      /* ADC1_CH1 (GPIO 1 - Hip Pad A1) */
#define AED_ADC_RESOLUTION_BITS  12     /* 0..4095 */
#define AED_CALIBRATION_SAMPLES  50     /* Baseline sample count (precise zero reference) */
#define AED_SAMPLE_INTERVAL_MS   100    /* 10 Hz sampling when active */
#define AED_DIFF_THRESHOLD       6      /* High-sensitivity threshold for thin/small magnets */
#define AED_HYSTERESIS_THRESHOLD 3      /* Release threshold to prevent flapping */
#define AED_OVERSAMPLE_COUNT     16     /* 16-sample averaging filter for low-noise ADC */

/* =============================================================================
 * MOUTH AIR / BREATH DETECTION CONFIGURATION (BMP280 I2C on GPIO 8/9)
 * ============================================================================= */
#define AIR_ON_THRESHOLD_PA      15.0f  /* 15.0 Pa threshold for breath detection */
#define AIR_OFF_THRESHOLD_PA     8.0f   /* 8.0 Pa release threshold (hysteresis) */
#define AIR_FILTER_ALPHA         0.35f  /* Exponential moving average alpha */
#define AIR_ON_CONFIRM_COUNT     5      /* Consecutive samples required for ON */
#define AIR_OFF_CONFIRM_COUNT    6      /* Consecutive samples required for OFF */
#define AIR_CALIBRATION_SAMPLES  50     /* Baseline calibration sample count */
#define AIR_SAMPLE_INTERVAL_MS   20     /* 50 Hz sampling task period (20 ms) */

/* =============================================================================
 * CPM (COMPRESSIONS PER MINUTE) RATE ESTIMATION
 * ============================================================================= */
#define CPM_SAMPLE_COUNT         6
#define CPM_LOW_THRESHOLD        100
#define CPM_HIGH_THRESHOLD       120

/* =============================================================================
 * PROTOCOL CONSTANTS & ENUMS
 * ============================================================================= */
#define PACKET_MAGIC_0           0xC9
#define PACKET_MAGIC_1           0xC2
#define PROTOCOL_VER             0x06
#define PTYPE_ANNOUNCE           0x01
#define PTYPE_COMPRESSION        0x02
#define PTYPE_AED                0x04
#define PTYPE_AIR                0x05

typedef enum {
    DEPTH_FAILED_RECOIL = -1,
    DEPTH_IDLE          =  0,
    DEPTH_SHALLOW       =  1,
    DEPTH_GOOD          =  2
} depth_result_t;

typedef enum {
    AED_MODE_DISABLED = 0, /* A0: Deactivate AED */
    AED_MODE_HIP      = 1, /* A1: Hip AED Pad */
    AED_MODE_CHEST    = 2  /* A2: Chest AED Pad */
} aed_mode_t;

typedef enum {
    HEART_STOPPED     = 0,
    HEART_NORMAL      = 1,
    HEART_CONTINUOUS  = 2,
    HEART_SINGLE_BEAT = 3,
    HEART_MODE_MAX
} heart_mode_t;

typedef enum {
    PHASE_IDLE    = 0,
    PHASE_DESCENT = 1,
    PHASE_ASCENT  = 2,
    PHASE_FAULT   = 3
} seq_phase_t;

typedef enum {
    PEAK_NONE    = 0,
    PEAK_SHALLOW = 1,
    PEAK_GOOD    = 2
} peak_level_t;

/* =============================================================================
 * BINARY PACKET DEFINITIONS (Standard 15 & 20 Bytes)
 * ============================================================================= */
#pragma pack(push, 1)

typedef struct {
    uint8_t  magic[2];       /* [0..1]   0xC9, 0xC2 */
    uint8_t  version;        /* [2]      0x06 */
    uint8_t  type;           /* [3]      0x02 (COMPRESSION), 0x04 (AED), 0x05 (AIR) */
    uint32_t timestamp;      /* [4..7]   Little-endian milliseconds */
    uint16_t id;             /* [8..9]   Rolling packet index */
    int8_t   depth;          /* [10]     depth result or status code */
    uint8_t  deviceID[3];    /* [11..13] MAC bytes [3..5] */
    uint8_t  checksum;       /* [14]     XOR of bytes [0..13] */
} CprPacket;

typedef struct {
    uint8_t  magic[2];       /* [0..1]   0xC9, 0xC2 */
    uint8_t  version;        /* [2]      0x06 */
    uint8_t  type;           /* [3]      0x01 (ANNOUNCE) */
    uint32_t timestamp;      /* [4..7]   Little-endian milliseconds */
    uint16_t id;             /* [8..9]   Rolling packet index */
    int8_t   depth;          /* [10]     Battery Percentage */
    uint8_t  deviceID[3];    /* [11..13] MAC bytes [3..5] */
    char     manikinName[4]; /* [14..17] "106\0" */
    uint8_t  manikinType;    /* [18]     1 */
    uint8_t  checksum;       /* [19]     XOR of bytes [0..18] */
} AnnouncePacket;

#pragma pack(pop)
```

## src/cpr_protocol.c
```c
/**
 * @file    cpr_protocol.c
 * @brief   CPR Binary Protocol Serialization Implementation (Zephyr RTOS)
 * @version 9.0.0
 */

#include "cpr_protocol.h"
#include <zephyr/kernel.h>
#include <string.h>

uint8_t cpr_protocol_calc_checksum(const uint8_t *buf, size_t n)
{
    uint8_t cs = 0;
    for (size_t i = 0; i < n; ++i) {
        cs ^= buf[i];
    }
    return cs;
}

CprPacket cpr_protocol_build_packet(uint8_t type, int8_t depth, uint16_t packet_id, const uint8_t device_id[3])
{
    CprPacket p;
    memset(&p, 0, sizeof(p));

    p.magic[0]    = PACKET_MAGIC_0;
    p.magic[1]    = PACKET_MAGIC_1;
    p.version     = PROTOCOL_VER;
    p.type        = type;
    p.timestamp   = k_uptime_get_32();
    p.id          = packet_id;
    p.depth       = depth;
    p.deviceID[0] = device_id[0];
    p.deviceID[1] = device_id[1];
    p.deviceID[2] = device_id[2];
    p.checksum    = cpr_protocol_calc_checksum((const uint8_t *)&p, sizeof(p) - 1u);

    return p;
}

AnnouncePacket cpr_protocol_build_announce(uint16_t packet_id, const uint8_t device_id[3], int8_t battery_pct)
{
    AnnouncePacket p;
    memset(&p, 0, sizeof(p));

    p.magic[0]       = PACKET_MAGIC_0;
    p.magic[1]       = PACKET_MAGIC_1;
    p.version        = PROTOCOL_VER;
    p.type           = PTYPE_ANNOUNCE;
    p.timestamp      = k_uptime_get_32();
    p.id             = packet_id;
    p.depth          = battery_pct;
    p.deviceID[0]    = device_id[0];
    p.deviceID[1]    = device_id[1];
    p.deviceID[2]    = device_id[2];
    p.manikinName[0] = MANIKIN_NAME_STR[0];
    p.manikinName[1] = MANIKIN_NAME_STR[1];
    p.manikinName[2] = MANIKIN_NAME_STR[2];
    p.manikinName[3] = '\0';
    p.manikinType    = MANIKIN_TYPE_DEFAULT;
    p.checksum       = cpr_protocol_calc_checksum((const uint8_t *)&p, sizeof(p) - 1u);

    return p;
}
```

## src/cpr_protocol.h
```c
/**
 * @file    cpr_protocol.h
 * @brief   CPR Binary Protocol Serialization & Builders
 * @version 9.0.0
 */

#pragma once

#include <stdint.h>
#include <stddef.h>
#include "cpr_config.h"

#ifdef __cplusplus
extern "C" {
#endif

uint8_t cpr_protocol_calc_checksum(const uint8_t *buf, size_t n);

CprPacket cpr_protocol_build_packet(uint8_t type, int8_t depth, uint16_t packet_id, const uint8_t device_id[3]);

AnnouncePacket cpr_protocol_build_announce(uint16_t packet_id, const uint8_t device_id[3], int8_t battery_pct);

#ifdef __cplusplus
}
#endif
```
